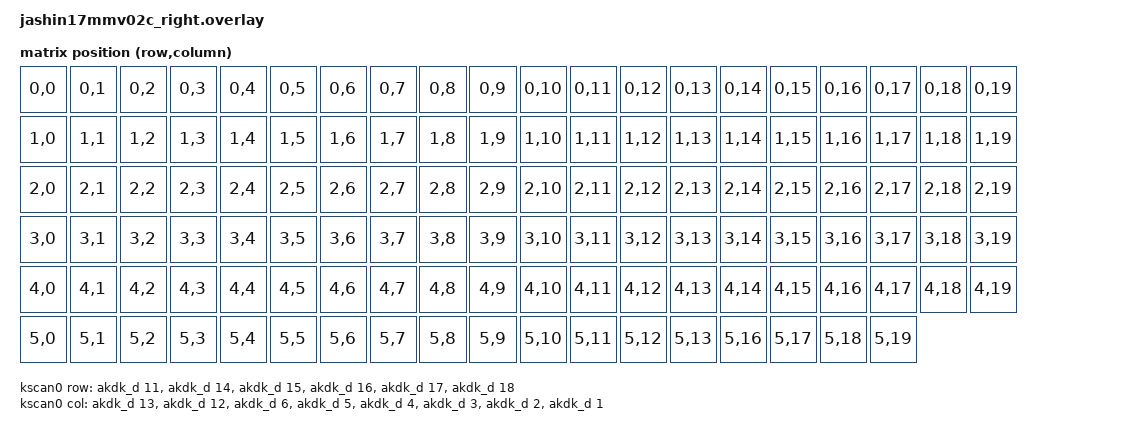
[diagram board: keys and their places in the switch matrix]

#include <dt-bindings/zmk/matrix_transform.h>
#include <input/processors.dtsi>
#include <dt-bindings/zmk/input_transform.h>
#include "layouts.dtsi"

#include <zephyr/dt-bindings/input/input-event-codes.h>

/ {
    input_processors {
        /* Y(縦) だけを 縦スクロール にマップ */
        y_to_scroll_mapper: y_to_scroll_mapper {
            compatible = "zmk,input-processor-code-mapper";
            #input-processor-cells = <0>;
            type = <INPUT_EV_REL>;
            map = <INPUT_REL_Y INPUT_REL_WHEEL>;
        };

        /* X(横) だけを 横スクロール にマップ */
        x_to_hscroll_mapper: x_to_hscroll_mapper {
            compatible = "zmk,input-processor-code-mapper";
            #input-processor-cells = <0>;
            type = <INPUT_EV_REL>;
            map = <INPUT_REL_X INPUT_REL_HWHEEL>;
        };
    };
};

/ {
    chosen {
        zmk,physical-layout = &physical_layout0;
    };

    default_transform: keymap_transform_0 {
        compatible = "zmk,matrix-transform";
        columns = <20>;
        rows = <6>;
        map = <
            RC(0,0) RC(0,1) RC(0,2) RC(0,3) RC(0,4) RC(0,5) RC(0,6) RC(0,7) RC(0,8) RC(0,9) RC(0,10) RC(0,11) RC(0,12) RC(0,13) RC(0,14) RC(0,15) RC(0,16) RC(0,17) RC(0,18) RC(0,19)
			RC(1,0) RC(1,1) RC(1,2) RC(1,3) RC(1,4) RC(1,5) RC(1,6) RC(1,7) RC(1,8) RC(1,9) RC(1,10) RC(1,11) RC(1,12) RC(1,13) RC(1,14) RC(1,15) RC(1,16) RC(1,17) RC(1,18) RC(1,19)
			RC(2,0) RC(2,1) RC(2,2) RC(2,3) RC(2,4) RC(2,5) RC(2,6) RC(2,7) RC(2,8) RC(2,9) RC(2,10) RC(2,11) RC(2,12) RC(2,13) RC(2,14) RC(2,15) RC(2,16) RC(2,17) RC(2,18) RC(2,19)
			RC(3,0) RC(3,1) RC(3,2) RC(3,3) RC(3,4) RC(3,5) RC(3,6) RC(3,7) RC(3,8) RC(3,9) RC(3,10) RC(3,11) RC(3,12) RC(3,13) RC(3,14) RC(3,15) RC(3,16) RC(3,17) RC(3,18) RC(3,19)
			RC(4,0) RC(4,1) RC(4,2) RC(4,3) RC(4,4) RC(4,5) RC(4,6) RC(4,7) RC(4,8) RC(4,9) RC(4,10) RC(4,11) RC(4,12) RC(4,13) RC(4,14) RC(4,15) RC(4,16) RC(4,17) RC(4,18) RC(4,19)
			RC(5,0) RC(5,1) RC(5,2) RC(5,3) RC(5,4) RC(5,5) RC(5,6) RC(5,7) RC(5,8) RC(5,9) RC(5,10) RC(5,11) RC(5,12) RC(5,13) RC(5,16) RC(5,17) RC(5,18) RC(5,19)
        >;
		col-offset = <12>;
    };

    kscan0: kscan {
        compatible = "zmk,kscan-gpio-matrix";
        wakeup-source;

        diode-direction = "col2row";
        row-gpios
            = <&akdk_d 11 (GPIO_ACTIVE_HIGH | GPIO_PULL_DOWN)>
			,<&akdk_d 14 (GPIO_ACTIVE_HIGH | GPIO_PULL_DOWN)>
			,<&akdk_d 15 (GPIO_ACTIVE_HIGH | GPIO_PULL_DOWN)>
			,<&akdk_d 16 (GPIO_ACTIVE_HIGH | GPIO_PULL_DOWN)>
			,<&akdk_d 17 (GPIO_ACTIVE_HIGH | GPIO_PULL_DOWN)>
			,<&akdk_d 18 (GPIO_ACTIVE_HIGH | GPIO_PULL_DOWN)>
            ;
        col-gpios
            = <&akdk_d 13 GPIO_ACTIVE_HIGH>
			,<&akdk_d 12 GPIO_ACTIVE_HIGH>
			,<&akdk_d 6 GPIO_ACTIVE_HIGH>
			,<&akdk_d 5 GPIO_ACTIVE_HIGH>
			,<&akdk_d 4 GPIO_ACTIVE_HIGH>
			,<&akdk_d 3 GPIO_ACTIVE_HIGH>
			,<&akdk_d 2 GPIO_ACTIVE_HIGH>
			,<&akdk_d 1 GPIO_ACTIVE_HIGH>
            ;
    };

    trackball_listener: trackball_listener {
        compatible = "zmk,input-listener";
        device = <&trackball>;
        input-processors = <&zip_xy_transform (INPUT_TRANSFORM_X_INVERT | INPUT_TRANSFORM_Y_INVERT)>,
        <&zip_xy_scaler 1 12>,   /* カーソル速度 */
        <&zip_temp_layer 2 350>;

    /* 縦スクロール：レイヤー3でのみ有効 */
    scroller_v {
        layers = <3>;
        input-processors =
            /* 必要ならXY_SWAPで “物理XをY側へ” 回してから */
            <&zip_xy_transform (INPUT_TRANSFORM_XY_SWAP | INPUT_TRANSFORM_X_INVERT)>,
            <&zip_xy_scaler 1 16>,       /* 縦スクロール速度 */
	        <&y_to_scroll_mapper>;      /* ★ 角括弧つきに ← 片軸（Yのみ）へ変換 */
        /* process-next; // 縦スクロール中もAML維持したい時だけ有効化 */
    };

    /* 横スクロール：レイヤー4でのみ有効 */
    scroller_h {
        layers = <4>;
        input-processors =
            /* XY_SWAP は使わず、必要なら X の反転だけ */
            <&zip_xy_transform (INPUT_TRANSFORM_X_INVERT)>,
            <&zip_xy_scaler 1 16>,       /* 横スクロール速度 */
            <&x_to_hscroll_mapper>;        /* ← 片軸（Xのみ）へ変換 */
        /* process-next; // 横スクロール中もAML維持したい時だけ有効化 */
    	};
    };
};

&physical_layout0 {
    kscan = <&kscan0>;
    transform = <&default_transform>;
};

&pinctrl {
    spi0_default: spi0_default {
        group1 {
            psels = <NRF_PSEL(SPIM_SCK, 0, 12)>,
                <NRF_PSEL(SPIM_MOSI, 1, 9)>,
                <NRF_PSEL(SPIM_MISO, 1, 9)>;
        };
    };

    spi0_sleep: spi0_sleep {
        group1 {
            psels = <NRF_PSEL(SPIM_SCK, 0, 12)>,
                <NRF_PSEL(SPIM_MOSI, 1, 9)>,
                <NRF_PSEL(SPIM_MISO, 1, 9)>;
            low-power-enable;
        };
    };
};

&spi0 {
    status = "okay";
    compatible = "nordic,nrf-spim";
    pinctrl-0 = <&spi0_default>;
    pinctrl-1 = <&spi0_sleep>;
    pinctrl-names = "default", "sleep";
    cs-gpios = <&gpio0 13 GPIO_ACTIVE_LOW>;

    trackball: trackball@0 {
        status = "okay";
        compatible = "pixart,paw3222";
        reg = <0>;
        spi-max-frequency = <2000000>;
        irq-gpios = <&gpio0 15 GPIO_ACTIVE_LOW>;
    };
};

